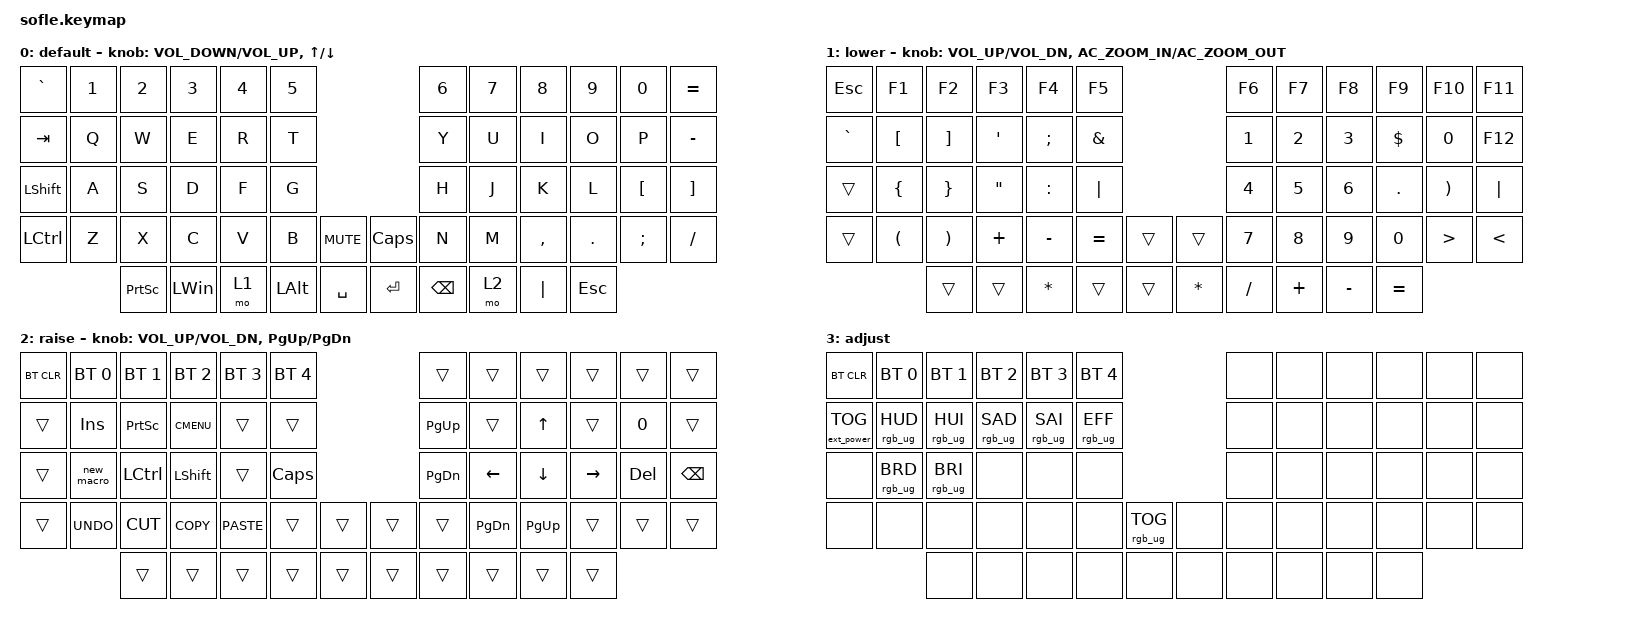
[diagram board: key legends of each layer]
/*
 * Copyright (c) 2020 The ZMK Contributors
 *
 * SPDX-License-Identifier: MIT
 */

#include <behaviors.dtsi>
#include <dt-bindings/zmk/bt.h>
#include <dt-bindings/zmk/ext_power.h>
#include <dt-bindings/zmk/keys.h>
#include <dt-bindings/zmk/rgb.h>

#define BASE 0
#define LOWER 1
#define RAISE 2
#define ADJUST 3

/ {
    // Activate ADJUST layer by pressing raise and lower

    conditional_layers {
        compatible = "zmk,conditional-layers";

        adjust_layer {
            if-layers = <LOWER RAISE>;
            then-layer = <ADJUST>;
        };
    };

    macros {
        new_macro: new_macro {
            compatible = "zmk,behavior-macro";
            #binding-cells = <0>;
            bindings = <&none>;
            label = "NEW_MACRO";
        };
    };

    keymap {
        compatible = "zmk,keymap";

        default_layer {
            label = "default";

            // ------------------------------------------------------------------------------------------------------------
            // |   `   |  1  |  2  |  3   |  4   |  5   |                   |  6   |  7    |  8    |  9   |   0   |       |
            // |  ESC  |  Q  |  W  |  E   |  R   |  T   |                   |  Y   |  U    |  I    |  O   |   P   | BKSPC |
            // |  TAB  |  A  |  S  |  D   |  F   |  G   |                   |  H   |  J    |  K    |  L   |   ;   |   '   |
            // | SHIFT |  Z  |  X  |  C   |  V   |  B   |  MUTE  |  |       |  N   |  M    |  ,    |  .   |   /   | SHIFT |
            //               | GUI | ALT  | CTRL | LOWER|  ENTER |  | SPACE | RAISE| CTRL  | ALT   | GUI  |

            bindings = <
&kp GRAVE       &kp N1  &kp N2           &kp N3        &kp N4  &kp N5                                 &kp N6         &kp N7  &kp N8     &kp N9      &kp N0            &kp EQUAL
&kp TAB         &kp Q   &kp W            &kp E         &kp R   &kp T                                  &kp Y          &kp U   &kp I      &kp O       &kp P             &kp MINUS
&kp LEFT_SHIFT  &kp A   &kp S            &kp D         &kp F   &kp G                                  &kp H          &kp J   &kp K      &kp L       &kp LEFT_BRACKET  &kp RIGHT_BRACKET
&kp LCTRL       &kp Z   &kp X            &kp C         &kp V   &kp B         &kp C_MUTE    &kp CLCK   &kp N          &kp M   &kp COMMA  &kp DOT     &kp SEMICOLON     &kp SLASH
                        &kp PRINTSCREEN  &kp LEFT_WIN  &mo 1   &kp LEFT_ALT  &kp SPACE     &kp ENTER  &kp BACKSPACE  &mo 2   &kp PIPE   &kp ESCAPE
            >;

            sensor-bindings =
                <&inc_dec_kp C_VOLUME_DOWN C_VOLUME_UP>,
                <&inc_dec_kp UP_ARROW DOWN>;
        };

        lower_layer {
            label = "lower";

            // TODO: Some binds are waiting for shifted keycode support.
            // ------------------------------------------------------------------------------------------------------------
            // |       |  F1 |  F2 |  F3  |  F4  |  F5  |                   |  F6  |  F7   |  F8   |  F9  |  F10  |  F11  |
            // |   `   |  1  |  2  |  3   |  4   |  5   |                   |  6   |  7    |  8    |  9   |   0   |  F12  |
            // |       |  !  |  @  |  #   |  $   |  %   |                   |  ^   |  &    |  *    |  (   |   )   |   |   |
            // |       |  =  |  -  |  +   |  {   |  }   |        |  |       |  [   |  ]    |  ;    |  :   |   \   |       |
            //               |     |      |      |      |        |  |       |      |       |       |      |

            bindings = <
&kp ESCAPE  &kp F1                &kp F2                 &kp F3             &kp F4         &kp F5                                 &kp F6        &kp F7        &kp F8        &kp F9      &kp F10   &kp F11
&kp GRAVE   &kp LEFT_BRACKET      &kp RIGHT_BRACKET      &kp SINGLE_QUOTE   &kp SEMICOLON  &kp AMPERSAND                          &kp NUMBER_1  &kp NUMBER_2  &kp NUMBER_3  &kp DOLLAR  &kp N0    &kp F12
&trans      &kp LEFT_BRACE        &kp RIGHT_BRACE        &kp DOUBLE_QUOTES  &kp COLON      &kp PIPE                               &kp NUMBER_4  &kp N5        &kp NUMBER_6  &kp PERIOD  &kp RPAR  &kp PIPE
&trans      &kp LEFT_PARENTHESIS  &kp RIGHT_PARENTHESIS  &kp PLUS           &kp MINUS      &kp EQUAL      &trans    &trans        &kp N7        &kp N8        &kp N9        &kp N0      &kp GT    &kp LESS_THAN
                                  &trans                 &trans             &kp ASTERISK   &trans         &trans    &kp ASTERISK  &kp SLASH     &kp PLUS      &kp MINUS     &kp EQUAL
            >;

            sensor-bindings =
                <&inc_dec_kp C_VOL_UP C_VOL_DN>,
                <&inc_dec_kp C_AC_ZOOM_IN C_AC_ZOOM_OUT>;
        };

        raise_layer {
            label = "raise";

            // ------------------------------------------------------------------------------------------------------------
            // | BTCLR | BT1  | BT2  |  BT3  |  BT4  |  BT5 |                |      |      |       |      |       |       |
            // |       | INS  | PSCR | GUI   |       |      |                | PGUP |      |   ^   |      |       |       |
            // |       | ALT  | CTRL | SHIFT |       | CAPS |                | PGDN |   <- |   v   |  ->  |  DEL  | BKSPC |
            // |       | UNDO | CUT  | COPY  | PASTE |      |      |  |      |      |      |       |      |       |       |
            //                |      |       |       |      |      |  |      |      |      |       |      |

            bindings = <
&bt BT_CLR  &bt BT_SEL 0  &bt BT_SEL 1  &bt BT_SEL 2  &bt BT_SEL 3  &bt BT_SEL 4                    &trans     &trans         &trans       &trans     &trans   &trans
&trans      &kp INS       &kp PSCRN     &kp K_CMENU   &trans        &trans                          &kp PG_UP  &trans         &kp UP       &trans     &kp N0   &trans
&trans      &new_macro    &kp LCTRL     &kp LSHFT     &trans        &kp CLCK                        &kp PG_DN  &kp LEFT       &kp DOWN     &kp RIGHT  &kp DEL  &kp BSPC
&trans      &kp K_UNDO    &kp K_CUT     &kp K_COPY    &kp K_PASTE   &trans        &trans    &trans  &trans     &kp PAGE_DOWN  &kp PAGE_UP  &trans     &trans   &trans
                          &trans        &trans        &trans        &trans        &trans    &trans  &trans     &trans         &trans       &trans
            >;

            sensor-bindings = <&inc_dec_kp C_VOL_UP C_VOL_DN &inc_dec_kp PG_UP PG_DN>;
        };

        adjust_layer {
            // ----------------------------------------------------------------------------------------------------------------------------
            // | BTCLR  |  BT1    |  BT2    |   BT3   |   BT4   |   BT5   |                  |      |      |       |      |       |       |
            // | EXTPWR | RGB_HUD | RGB_HUI | RGB_SAD | RGB_SAI | RGB_EFF |                  |      |      |       |      |       |       |
            // |        | RGB_BRD | RGB_BRI |         |         |         |                  |      |      |       |      |       |       |
            // |        |         |         |         |         |         | RGB_TOG | |      |      |      |       |      |       |       |
            //                    |         |         |         |         |         | |      |      |      |       |      |

            label = "adjust";
            bindings = <
&bt BT_CLR         &bt BT_SEL 0     &bt BT_SEL 1     &bt BT_SEL 2     &bt BT_SEL 3     &bt BT_SEL 4                               &none  &none  &none  &none  &none  &none
&ext_power EP_TOG  &rgb_ug RGB_HUD  &rgb_ug RGB_HUI  &rgb_ug RGB_SAD  &rgb_ug RGB_SAI  &rgb_ug RGB_EFF                            &none  &none  &none  &none  &none  &none
&none              &rgb_ug RGB_BRD  &rgb_ug RGB_BRI  &none            &none            &none                                      &none  &none  &none  &none  &none  &none
&none              &none            &none            &none            &none            &none            &rgb_ug RGB_TOG    &none  &none  &none  &none  &none  &none  &none
                                    &none            &none            &none            &none            &none              &none  &none  &none  &none  &none
            >;
        };
    };
};
